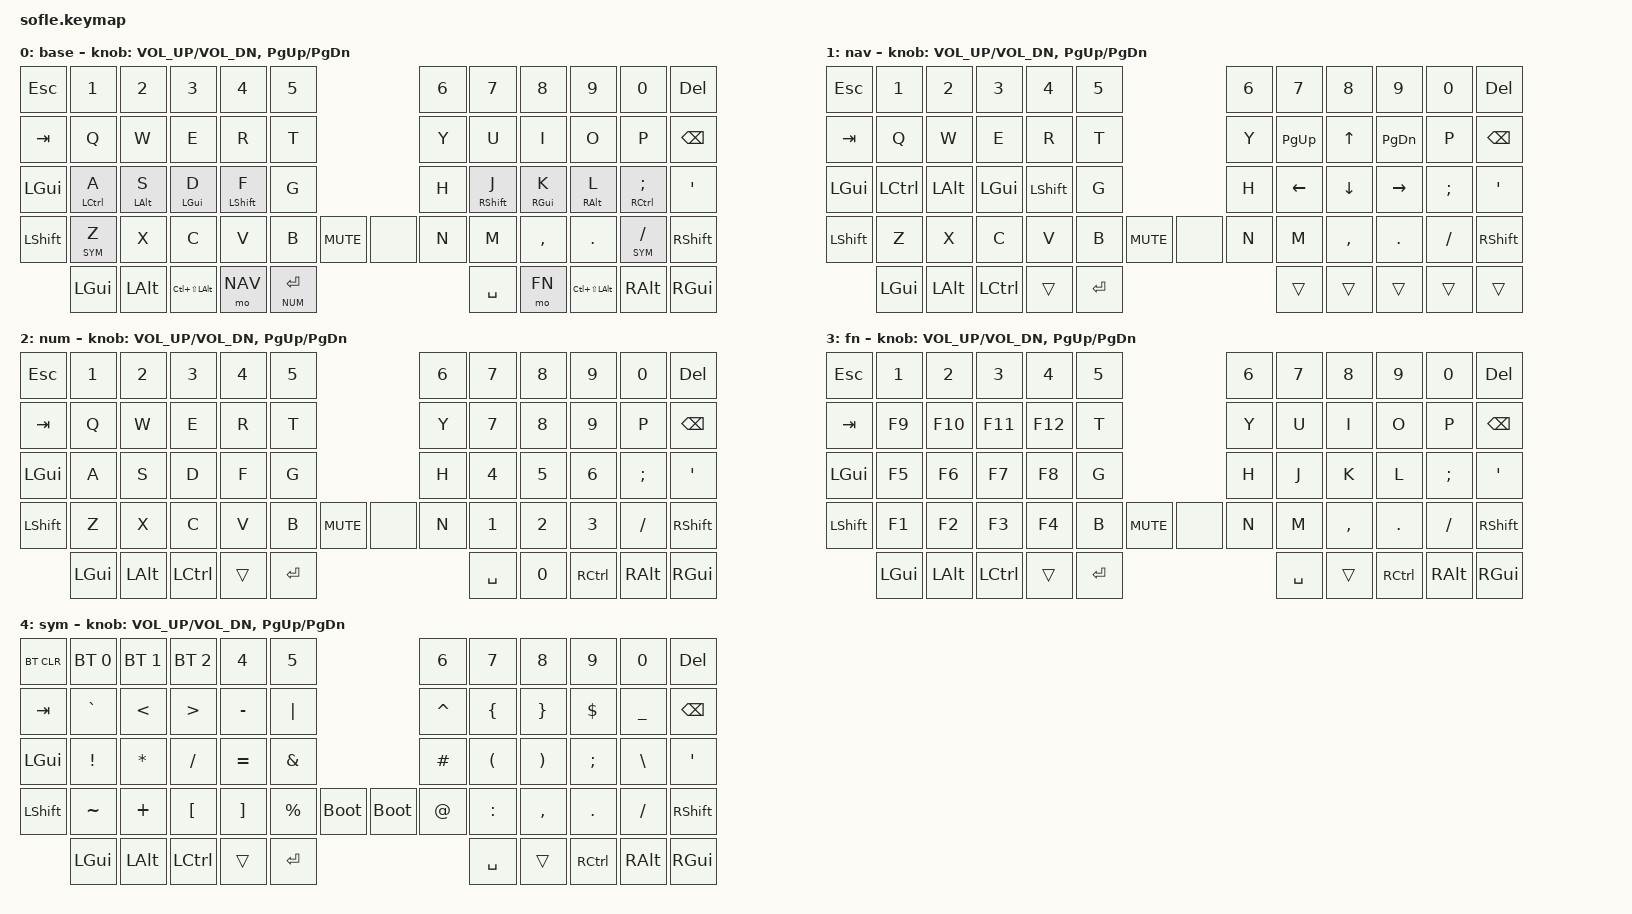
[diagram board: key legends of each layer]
/*
 * Copyright (c) 2020 The ZMK Contributors
 *
 * SPDX-License-Identifier: MIT
 */ 

#include <behaviors.dtsi>
#include <dt-bindings/zmk/bt.h>
#include <dt-bindings/zmk/ext_power.h>
#include <dt-bindings/zmk/keys.h>
#include <dt-bindings/zmk/rgb.h>
#include "zmk-helpers/helper.h"
#include "zmk-helpers/key-labels/sofle.h"
#define KEYS_L LT0 LT1 LT2 LT3 LT4 LT5 LM0 LM1 LM2 LM3 LM4 LM5 LB0 LB1 LB2 LB3 LB4 LB5  // Left-hand keys.
#define KEYS_R RT0 RT1 RT2 RT3 RT4 RT5 RM0 RM1 RM2 RM3 RM4 RM5 RB0 RB1 RB2 RB3 RB4 RB5 // Right-hand keys.
#define THUMBS LH2 LH1 LH0 RH0 RH1 RH2                                      // Thumb keys.


#define BASE 0
#define NAV 1
#define NUM 2
#define FN 3
#define SYM 4

/ {
    behaviors {
        // --- Left Hand Home Row Mods ---
        hm_a_lctrl: behavior_hm_a_lctrl {
            compatible = "zmk,behavior-hold-tap";
            label = "HM_A_LCTRL";
            #binding-cells = <2>;
            tapping-term-ms = <280>;
            quick-tap-ms = <175>;
            require-prior-idle-ms = <130>;
            bindings= <&kp>, <&kp>;
            flavor = "balanced";
            hold-trigger-key-positions = <KEYS_R THUMBS>;
            hold-trigger-on-release;
        };
        
    
        // S: LALT on hold, S on tap
        hm_s_lalt: behavior_hm_s_lalt {
            compatible = "zmk,behavior-hold-tap";
            label = "HM_S_LALT";
            #binding-cells = <2>;
            tapping-term-ms = <280>;
            quick-tap-ms = <175>;
            require-prior-idle-ms = <130>;
            bindings= <&kp>, <&kp>;
            flavor = "balanced";
            hold-trigger-key-positions = <KEYS_R THUMBS>; // Timeless
            hold-trigger-on-release;
        };

        // D: LGUI on hold, D on tap
        hm_d_lgui: behavior_hm_d_lgui {
            compatible = "zmk,behavior-hold-tap";
            label = "HM_D_LGUI";
            #binding-cells = <2>;
            tapping-term-ms = <280>;
            quick-tap-ms = <175>;
            require-prior-idle-ms = <130>;
            bindings= <&kp>, <&kp>;
            flavor = "balanced";
            hold-trigger-key-positions = <KEYS_R THUMBS>; // Timeless
            hold-trigger-on-release;
        };

        // F: LSHFT on hold, F on tap
        hm_f_lshft: behavior_hm_f_lshft {
            compatible = "zmk,behavior-hold-tap";
            label = "HM_F_LSHFT";
            #binding-cells = <2>;
            tapping-term-ms = <280>;
            quick-tap-ms = <175>;
            require-prior-idle-ms = <130>;
            bindings= <&kp>, <&kp>;
            flavor = "balanced";
            hold-trigger-key-positions = <KEYS_R THUMBS>; // Timeless
            hold-trigger-on-release;
        };
        // Z on tap, sym layer on hold
        hm_z_sym: behavior_hm_z_sym { // Renamed node and label
            compatible = "zmk,behavior-hold-tap";
            label = "HM_Z_SYM"; // Renamed label
            #binding-cells = <2>;
            tapping-term-ms = <280>;
            quick-tap-ms = <175>;
            require-prior-idle-ms = <130>;
            bindings= <&mo>, <&kp>;
            flavor = "balanced";
            hold-trigger-key-positions = <KEYS_R THUMBS>; // Timeless
            hold-trigger-on-release;
        };

/*        // q on tap, Hyper on hold
        hm_q_hyper: behavior_hm_q_hyper {
            compatible = "zmk,behavior-hold-tap";
            label = "HM_Q_HYPER";
            #binding-cells = <2>;
            tapping-term-ms = <280>;
            quick-tap-ms = <175>;
            require-prior-idle-ms = <130>;
            flavor = "balanced";
            bindings = <&kp>, <&kp>; // define HYPER as a macro below
            hold-trigger-key-positions = <KEYS_R THUMBS>;
        }; */

// --- Right Hand Home Row Mods (Corrected Symmetrical Mapping) ---

        // J: RSHFT on hold, J on tap (Mirrors F:LSHFT)
        hm_j_rshft: behavior_hm_j_rshft { // Renamed node and label
            compatible = "zmk,behavior-hold-tap";
            label = "HM_J_RSHFT"; // Renamed label
            #binding-cells = <2>;
            tapping-term-ms = <280>;
            quick-tap-ms = <175>;
            require-prior-idle-ms = <130>;
            bindings= <&kp>, <&kp>;
            flavor = "balanced";
            hold-trigger-key-positions = <KEYS_L THUMBS>; // Timeless
            hold-trigger-on-release;
        };

        // K: RGUI on hold, K on tap (Mirrors D:LGUI)
        hm_k_rgui: behavior_hm_k_rgui { // Renamed node and label
            compatible = "zmk,behavior-hold-tap";
            label = "HM_K_RGUI"; // Renamed label
            #binding-cells = <2>;
            tapping-term-ms = <280>;
            quick-tap-ms = <175>;
            require-prior-idle-ms = <130>;
            bindings= <&kp>, <&kp>;
            flavor = "balanced";
            hold-trigger-key-positions = <KEYS_L THUMBS>; // Timeless
            hold-trigger-on-release;
        };

        // L: RALT on hold, L on tap (Mirrors S:LALT)
        hm_l_ralt: behavior_hm_l_ralt { // Renamed node and label
            compatible = "zmk,behavior-hold-tap";
            label = "HM_L_RALT"; // Renamed label
            #binding-cells = <2>;
            tapping-term-ms = <280>;
            quick-tap-ms = <175>;
            require-prior-idle-ms = <130>;
            bindings= <&kp>, <&kp>;
            flavor = "balanced";
            hold-trigger-key-positions = <KEYS_L THUMBS>; // Timeless
            hold-trigger-on-release;
        };

        // SEMI: RCTRL on hold, SEMI on tap (Mirrors A:LCTRL)
        hm_semi_rctrl: behavior_hm_semi_rctrl { // Renamed node and label
            compatible = "zmk,behavior-hold-tap";
            label = "HM_SEMI_RCTRL"; // Renamed label
            #binding-cells = <2>;
            tapping-term-ms = <280>;
            quick-tap-ms = <175>;
            require-prior-idle-ms = <130>;
            bindings= <&kp>, <&kp>;
            flavor = "balanced";
            hold-trigger-key-positions = <KEYS_L THUMBS>; // Timeless
            hold-trigger-on-release;
        }; 
                // FSLH on tap, sym layer on hold (Mirrors Z:SYM)
        hm_fslh_sym: behavior_hm_fslh_sym { // Renamed node and label
            compatible = "zmk,behavior-hold-tap";
            label = "HM_FSLH_SYM"; // Renamed label
            #binding-cells = <2>;
            tapping-term-ms = <280>;
            quick-tap-ms = <175>;
            require-prior-idle-ms = <130>;
            bindings= <&mo>, <&kp>;
            flavor = "balanced";
            hold-trigger-key-positions = <KEYS_L THUMBS>; // Timeless
            hold-trigger-on-release;
        }; 
                // P on tap, Hyper on hold
/*        hm_p_hyper: behavior_hm_p_hyper {
            compatible = "zmk,behavior-hold-tap";
            label = "HM_P_HYPER";
            #binding-cells = <2>;
            tapping-term-ms = <280>;
            quick-tap-ms = <175>;
            require-prior-idle-ms = <130>;
            flavor = "balanced";
            bindings = <&kp>, <&kp>; // define HYPER as a macro below
            hold-trigger-key-positions = <KEYS_L THUMBS>;
        }; */

    }; // End of behaviors block 

/*/ {
    macros {
        hyper: macro_hyper {
            compatible = "zmk,behavior-macro";
            label = "HYPER";
            bindings = <&kp LC(LS(LA(LG(KC_NO))))>; // This simulates Hyper
        };
    };
};
*/    
     keymap {
        compatible = "zmk,keymap";

        default_layer {
            label = "base";
            bindings = <
// ╭───────────────────┬───────────────────┬───────────────────┬───────────────────┬───────────────────┬───────────────────╮                                              ╭───────────────────┬───────────────────┬───────────────────┬───────────────────┬───────────────────┬───────────────────╮
    &kp ESC             &kp N1              &kp N2              &kp N3              &kp N4              &kp N5                                                             &kp N6              &kp N7              &kp N8              &kp N9              &kp N0              &kp DELETE       
// ├───────────────────┼───────────────────┼───────────────────┼───────────────────┼───────────────────┼───────────────────┤                                              ├───────────────────┼───────────────────┼───────────────────┼───────────────────┼───────────────────┼───────────────────┤
    &kp TAB             &kp Q               &kp W               &kp E               &kp R               &kp T                                                              &kp Y               &kp U               &kp I               &kp O               &kp P               &kp BSPC
// ├───────────────────┼───────────────────┼───────────────────┼───────────────────┼───────────────────┼───────────────────┤                                              ├───────────────────┼───────────────────┼───────────────────┼───────────────────┼───────────────────┼───────────────────┤
    &kp LGUI            &hm_a_lctrl LCTRL A &hm_s_lalt LALT S    &hm_d_lgui LGUI D   &hm_f_lshft LSHFT F &kp G                                                              &kp H               &hm_j_rshft RSHFT J &hm_k_rgui RGUI K    &hm_l_ralt RALT L  &hm_semi_rctrl RCTRL SEMI    &kp SQT
// ╭───────────────────┬───────────────────┬───────────────────┬───────────────────┬───────────────────┬───────────────────┬───────────────────╮      ╭───────────────────┬───────────────────┬───────────────────┬───────────────────┬───────────────────┬───────────────────┬───────────────────╮
    &kp LSHFT           &hm_z_sym SYM Z     &kp X               &kp C               &kp V               &kp B               &kp C_MUTE                 &none               &kp N               &kp M               &kp COMMA           &kp DOT             &hm_fslh_sym SYM FSLH           &kp RSHFT
// ╰───────────────────┴───────────────────┴───────────────────┴───────────────────┴───────────────────┴───────────────────┴───────────────────╯      ╰───────────────────┴───────────────────┴───────────────────┴───────────────────┴───────────────────┴───────────────────┴───────────────────╯
                   
//                     ╭───────────────────┬───────────────────┬───────────────────┬───────────────────┬───────────────────╮                                              ╭───────────────────┬───────────────────┬───────────────────┬───────────────────┬───────────────────╮
                        &kp LGUI            &kp LALT            &kp LC(LS(LALT))           &mo NAV             &lt NUM RET                                                        &kp SPACE             &mo FN         &kp LC(LS(LALT))           &kp RALT            &kp RGUI
//                     ╰───────────────────┴───────────────────┴───────────────────┴───────────────────┴───────────────────╯                                              ╰───────────────────┴───────────────────┴───────────────────┴───────────────────┴───────────────────╯
            >;
            sensor-bindings = <&inc_dec_kp C_VOL_UP C_VOL_DN &inc_dec_kp PG_UP PG_DN>;
        };

        nav_layer {
            label = "nav";
            bindings = <
// ╭───────────────────┬───────────────────┬───────────────────┬───────────────────┬───────────────────┬───────────────────╮                                              ╭───────────────────┬───────────────────┬───────────────────┬───────────────────┬───────────────────┬───────────────────╮
    &kp ESC             &kp N1              &kp N2              &kp N3              &kp N4              &kp N5                                                             &kp N6              &kp N7              &kp N8              &kp N9              &kp N0              &kp DELETE       
// ├───────────────────┼───────────────────┼───────────────────┼───────────────────┼───────────────────┼───────────────────┤                                              ├───────────────────┼───────────────────┼───────────────────┼───────────────────┼───────────────────┼───────────────────┤
    &kp TAB             &kp Q               &kp W               &kp E               &kp R               &kp T                                                              &kp Y               &kp PG_UP           &kp UP              &kp PG_DN           &kp P               &kp BSPC
// ├───────────────────┼───────────────────┼───────────────────┼───────────────────┼───────────────────┼───────────────────┤                                              ├───────────────────┼───────────────────┼───────────────────┼───────────────────┼───────────────────┼───────────────────┤
    &kp LGUI            &kp LCTRL           &kp LALT            &kp LGUI            &kp LSHFT           &kp G                                                              &kp H               &kp LEFT            &kp DOWN            &kp RIGHT           &kp SEMI            &kp SQT
// ╭───────────────────┬───────────────────┬───────────────────┬───────────────────┬───────────────────┬───────────────────┬───────────────────╮      ╭───────────────────┬───────────────────┬───────────────────┬───────────────────┬───────────────────┬───────────────────┬───────────────────╮
    &kp LSHFT           &kp Z               &kp X               &kp C               &kp V               &kp B               &kp C_MUTE                 &none               &kp N               &kp M               &kp COMMA           &kp DOT             &kp FSLH            &kp RSHFT
// ╰───────────────────┴───────────────────┴───────────────────┴───────────────────┴───────────────────┴───────────────────┴───────────────────╯      ╰───────────────────┴───────────────────┴───────────────────┴───────────────────┴───────────────────┴───────────────────┴───────────────────╯
                   
//                     ╭───────────────────┬───────────────────┬───────────────────┬───────────────────┬───────────────────╮                                              ╭───────────────────┬───────────────────┬───────────────────┬───────────────────┬───────────────────╮
                        &kp LGUI            &kp LALT            &kp LCTRL           &trans           &kp RET                                                               &trans              &trans          &trans           &trans             &trans
//                     ╰───────────────────┴───────────────────┴───────────────────┴───────────────────┴───────────────────╯                                              ╰───────────────────┴───────────────────┴───────────────────┴───────────────────┴───────────────────╯
            >;
            sensor-bindings = <&inc_dec_kp C_VOL_UP C_VOL_DN &inc_dec_kp PG_UP PG_DN>;
        };

        num_layer {
            label = "num";
            bindings = <
// ╭───────────────────┬───────────────────┬───────────────────┬───────────────────┬───────────────────┬───────────────────╮                                              ╭───────────────────┬───────────────────┬───────────────────┬───────────────────┬───────────────────┬───────────────────╮
    &kp ESC             &kp N1              &kp N2              &kp N3              &kp N4              &kp N5                                                             &kp N6              &kp N7              &kp N8              &kp N9              &kp N0              &kp DELETE       
// ├───────────────────┼───────────────────┼───────────────────┼───────────────────┼───────────────────┼───────────────────┤                                              ├───────────────────┼───────────────────┼───────────────────┼───────────────────┼───────────────────┼───────────────────┤
    &kp TAB             &kp Q               &kp W               &kp E               &kp R               &kp T                                                              &kp Y               &kp N7               &kp N8               &kp N9               &kp P               &kp BSPC
// ├───────────────────┼───────────────────┼───────────────────┼───────────────────┼───────────────────┼───────────────────┤                                              ├───────────────────┼───────────────────┼───────────────────┼───────────────────┼───────────────────┼───────────────────┤
    &kp LGUI            &kp A               &kp S               &kp D               &kp F               &kp G                                                              &kp H               &kp N4               &kp N5               &kp N6               &kp SEMI            &kp SQT
// ╭───────────────────┬───────────────────┬───────────────────┬───────────────────┬───────────────────┬───────────────────┬───────────────────╮      ╭───────────────────┬───────────────────┬───────────────────┬───────────────────┬───────────────────┬───────────────────┬───────────────────╮
    &kp LSHFT           &kp Z               &kp X               &kp C               &kp V               &kp B               &kp C_MUTE                 &none               &kp N               &kp N1               &kp N2             &kp N3             &kp FSLH            &kp RSHFT
// ╰───────────────────┴───────────────────┴───────────────────┴───────────────────┴───────────────────┴───────────────────┴───────────────────╯      ╰───────────────────┴───────────────────┴───────────────────┴───────────────────┴───────────────────┴───────────────────┴───────────────────╯
                   
//                     ╭───────────────────┬───────────────────┬───────────────────┬───────────────────┬───────────────────╮                                              ╭───────────────────┬───────────────────┬───────────────────┬───────────────────┬───────────────────╮
                        &kp LGUI            &kp LALT            &kp LCTRL           &trans              &kp RET                                                            &kp SPACE            &kp N0             &kp RCTRL           &kp RALT            &kp RGUI
//                     ╰───────────────────┴───────────────────┴───────────────────┴───────────────────┴───────────────────╯                                              ╰───────────────────┴───────────────────┴───────────────────┴───────────────────┴───────────────────╯
            >;
            sensor-bindings = <&inc_dec_kp C_VOL_UP C_VOL_DN &inc_dec_kp PG_UP PG_DN>;
        };

        fn_layer {
            label = "fn";
            bindings = <
// ╭───────────────────┬───────────────────┬───────────────────┬───────────────────┬───────────────────┬───────────────────╮                                              ╭───────────────────┬───────────────────┬───────────────────┬───────────────────┬───────────────────┬───────────────────╮
    &kp ESC             &kp N1              &kp N2              &kp N3              &kp N4              &kp N5                                                             &kp N6              &kp N7              &kp N8              &kp N9              &kp N0              &kp DELETE       
// ├───────────────────┼───────────────────┼───────────────────┼───────────────────┼───────────────────┼───────────────────┤                                              ├───────────────────┼───────────────────┼───────────────────┼───────────────────┼───────────────────┼───────────────────┤
    &kp TAB             &kp F9              &kp F10             &kp F11             &kp F12             &kp T                                                              &kp Y               &kp U               &kp I               &kp O               &kp P               &kp BSPC
// ├───────────────────┼───────────────────┼───────────────────┼───────────────────┼───────────────────┼───────────────────┤                                              ├───────────────────┼───────────────────┼───────────────────┼───────────────────┼───────────────────┼───────────────────┤
    &kp LGUI            &kp F5              &kp F6              &kp F7              &kp F8              &kp G                                                              &kp H               &kp J               &kp K               &kp L               &kp SEMI            &kp SQT
// ╭───────────────────┬───────────────────┬───────────────────┬───────────────────┬───────────────────┬───────────────────┬───────────────────╮      ╭───────────────────┬───────────────────┬───────────────────┬───────────────────┬───────────────────┬───────────────────┬───────────────────╮
    &kp LSHFT           &kp F1              &kp F2              &kp F3              &kp F4              &kp B               &kp C_MUTE                 &none               &kp N               &kp M               &kp COMMA           &kp DOT             &kp FSLH            &kp RSHFT
// ╰───────────────────┴───────────────────┴───────────────────┴───────────────────┴───────────────────┴───────────────────┴───────────────────╯      ╰───────────────────┴───────────────────┴───────────────────┴───────────────────┴───────────────────┴───────────────────┴───────────────────╯
                   
//                     ╭───────────────────┬───────────────────┬───────────────────┬───────────────────┬───────────────────╮                                              ╭───────────────────┬───────────────────┬───────────────────┬───────────────────┬───────────────────╮
                        &kp LGUI            &kp LALT            &kp LCTRL           &trans              &kp RET                                                            &kp SPACE             &trans         &kp RCTRL           &kp RALT            &kp RGUI
//                     ╰───────────────────┴───────────────────┴───────────────────┴───────────────────┴───────────────────╯                                              ╰───────────────────┴───────────────────┴───────────────────┴───────────────────┴───────────────────╯
            >;
            sensor-bindings = <&inc_dec_kp C_VOL_UP C_VOL_DN &inc_dec_kp PG_UP PG_DN>;
        };

         sym_layer {
            label = "sym";
            bindings = <
// ╭───────────────────┬───────────────────┬───────────────────┬───────────────────┬───────────────────┬───────────────────╮                                              ╭───────────────────┬───────────────────┬───────────────────┬───────────────────┬───────────────────┬───────────────────╮
    &bt BT_CLR          &bt BT_SEL 0        &bt BT_SEL 1        &bt BT_SEL 2        &kp N4              &kp N5                                                             &kp N6              &kp N7              &kp N8              &kp N9              &kp N0              &kp DELETE       
// ├───────────────────┼───────────────────┼───────────────────┼───────────────────┼───────────────────┼───────────────────┤                                              ├───────────────────┼───────────────────┼───────────────────┼───────────────────┼───────────────────┼───────────────────┤
    &kp TAB             &kp GRAVE           &kp LT              &kp GT              &kp MINUS           &kp PIPE                                                           &kp CARET           &kp LBRC            &kp RBRC            &kp DLLR            &kp UNDER           &kp BSPC
// ├───────────────────┼───────────────────┼───────────────────┼───────────────────┼───────────────────┼───────────────────┤                                              ├───────────────────┼───────────────────┼───────────────────┼───────────────────┼───────────────────┼───────────────────┤
    &kp LGUI            &kp EXCL            &kp STAR            &kp FSLH            &kp EQUAL           &kp AMPS                                                           &kp HASH            &kp LPAR            &kp RPAR            &kp SEMI            &kp BSLH            &kp SQT
// ╭───────────────────┬───────────────────┬───────────────────┬───────────────────┬───────────────────┬───────────────────┬───────────────────╮      ╭───────────────────┬───────────────────┬───────────────────┬───────────────────┬───────────────────┬───────────────────┬───────────────────╮
    &kp LSHFT           &kp TILDE           &kp PLUS            &kp LBKT            &kp RBKT            &kp PRCNT           &bootloader                &bootloader         &kp AT              &kp COLON           &kp COMMA           &kp DOT             &kp FSLH            &kp RSHFT
// ╰───────────────────┴───────────────────┴───────────────────┴───────────────────┴───────────────────┴───────────────────┴───────────────────╯      ╰───────────────────┴───────────────────┴───────────────────┴───────────────────┴───────────────────┴───────────────────┴───────────────────╯
                   
//                     ╭───────────────────┬───────────────────┬───────────────────┬───────────────────┬───────────────────╮                                              ╭───────────────────┬───────────────────┬───────────────────┬───────────────────┬───────────────────╮
                        &kp LGUI            &kp LALT            &kp LCTRL           &trans             &kp RET                                                             &kp SPACE           &trans             &kp RCTRL           &kp RALT            &kp RGUI
//                     ╰───────────────────┴───────────────────┴───────────────────┴───────────────────┴───────────────────╯                                              ╰───────────────────┴───────────────────┴───────────────────┴───────────────────┴───────────────────╯
            >;
            sensor-bindings = <&inc_dec_kp C_VOL_UP C_VOL_DN &inc_dec_kp PG_UP PG_DN>;
        };

    };
};
